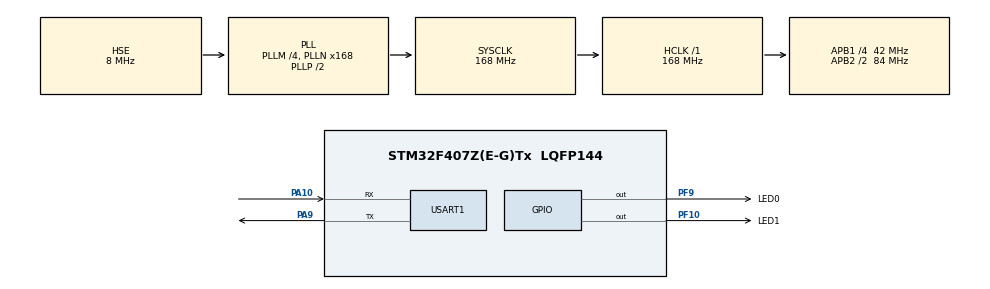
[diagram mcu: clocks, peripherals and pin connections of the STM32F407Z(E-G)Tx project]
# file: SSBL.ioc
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Dma.Request0=USART1_TX
Dma.Request1=USART1_RX
Dma.USART1_RX.1.Direction=DMA_PERIPH_TO_MEMORY
Dma.USART1_RX.1.FIFOMode=DMA_FIFOMODE_DISABLE
Dma.USART1_RX.1.Instance=DMA2_Stream2
Dma.USART1_RX.1.MemDataAlignment=DMA_MDATAALIGN_BYTE
Dma.USART1_RX.1.MemInc=DMA_MINC_ENABLE
Dma.USART1_RX.1.Mode=DMA_NORMAL
Dma.USART1_RX.1.PeriphDataAlignment=DMA_PDATAALIGN_BYTE
Dma.USART1_RX.1.PeriphInc=DMA_PINC_DISABLE
Dma.USART1_RX.1.Priority=DMA_PRIORITY_LOW
Dma.USART1_TX.0.Direction=DMA_MEMORY_TO_PERIPH
Dma.USART1_TX.0.FIFOMode=DMA_FIFOMODE_DISABLE
Dma.USART1_TX.0.Instance=DMA2_Stream7
Dma.USART1_TX.0.MemDataAlignment=DMA_MDATAALIGN_BYTE
Dma.USART1_TX.0.MemInc=DMA_MINC_ENABLE
Dma.USART1_TX.0.Mode=DMA_NORMAL
Dma.USART1_TX.0.PeriphDataAlignment=DMA_PDATAALIGN_BYTE
Dma.USART1_TX.0.PeriphInc=DMA_PINC_DISABLE
Dma.USART1_TX.0.Priority=DMA_PRIORITY_LOW
IWDG.Prescaler=IWDG_PRESCALER_32
Mcu.Family=STM32F4
Mcu.Name=STM32F407Z(E-G)Tx
Mcu.Package=LQFP144
NVIC.DMA2_Stream2_IRQn=true\:0\:0\:false\:false\:true\:false\:true\:true
NVIC.DMA2_Stream7_IRQn=true\:0\:0\:false\:false\:true\:false\:true\:true
NVIC.PriorityGroup=NVIC_PRIORITYGROUP_4
NVIC.TIM1_UP_TIM10_IRQn=true\:15\:0\:false\:false\:true\:false\:true\:true
NVIC.TIM2_IRQn=true\:0\:0\:false\:false\:true\:true\:true\:true
NVIC.TimeBase=TIM1_UP_TIM10_IRQn
NVIC.TimeBaseIP=TIM1
NVIC.USART1_IRQn=true\:0\:0\:false\:false\:true\:true\:true\:true
PA10.Mode=Asynchronous
PA10.Signal=USART1_RX
PA13.Mode=Serial_Wire
PA13.Signal=SYS_JTMS-SWDIO
PA14.Mode=Serial_Wire
PA14.Signal=SYS_JTCK-SWCLK
PA9.Mode=Asynchronous
PA9.Signal=USART1_TX
PF10.GPIO_Label=LED1
PF10.GPIO_PuPd=GPIO_PULLUP
PF10.PinState=GPIO_PIN_SET
PF10.Signal=GPIO_Output
PF9.GPIO_Label=LED0
PF9.GPIO_PuPd=GPIO_PULLUP
PF9.PinState=GPIO_PIN_SET
PF9.Signal=GPIO_Output
PH0-OSC_IN.Mode=HSE-External-Oscillator
PH0-OSC_IN.Signal=RCC_OSC_IN
PH1-OSC_OUT.Mode=HSE-External-Oscillator
PH1-OSC_OUT.Signal=RCC_OSC_OUT
ProjectManager.HeapSize=0x200
ProjectManager.StackSize=0x400
ProjectManager.TargetToolchain=MDK-ARM V5.32
RCC.48MHZClocksFreq_Value=48000000
RCC.AHBFreq_Value=168000000
RCC.APB1CLKDivider=RCC_HCLK_DIV4
RCC.APB1Freq_Value=42000000
RCC.APB1TimFreq_Value=84000000
RCC.APB2CLKDivider=RCC_HCLK_DIV2
RCC.APB2Freq_Value=84000000
RCC.APB2TimFreq_Value=168000000
RCC.CortexFreq_Value=168000000
RCC.HCLKFreq_Value=168000000
RCC.HSE_VALUE=8000000
RCC.HSI_VALUE=16000000
RCC.LSE_VALUE=32768
RCC.PLLM=4
RCC.PLLN=168
RCC.PLLQ=7
RCC.PLLSourceVirtual=RCC_PLLSOURCE_HSE
RCC.PWR_Regulator_Voltage_Scale=PWR_REGULATOR_VOLTAGE_SCALE1
RCC.RCC_RTC_Clock_Source=RCC_RTCCLKSOURCE_LSI
RCC.RCC_RTC_Clock_SourceVirtual=RCC_RTCCLKSOURCE_LSE
RCC.RCC_RTC_Clock_Source_FROM_HSE=RCC_RTCCLKSOURCE_HSE_DIV8
RCC.SYSCLKFreq_VALUE=168000000
RCC.SYSCLKSource=RCC_SYSCLKSOURCE_PLLCLK
RCC.VCOOutputFreq_Value=336000000
TIM2.AutoReloadPreload=TIM_AUTORELOAD_PRELOAD_ENABLE
TIM2.Period=99999
TIM2.Prescaler=83
USART1.VirtualMode=VM_ASYNC
VP_CRC_VS_CRC.Mode=CRC_Activate
VP_IWDG_VS_IWDG.Mode=IWDG_Activate
VP_SYS_VS_tim1.Mode=TIM1
VP_TIM2_VS_ClockSourceINT.Mode=Internal
board=custom

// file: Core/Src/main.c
/* USER CODE BEGIN Header */
/**
  ******************************************************************************
  * @file           : main.c
  * @brief          : Main program body
  ******************************************************************************
  * @attention
  *
  * Copyright (c) 2025 STMicroelectronics.
  * All rights reserved.
  *
  * This software is licensed under terms that can be found in the LICENSE file
  * in the root directory of this software component.
  * If no LICENSE file comes with this software, it is provided AS-IS.
  *
  ******************************************************************************
  */
/* USER CODE END Header */
#include "main.h"
#include "crc.h"
#include "dma.h"
#include "iwdg.h"
#include "tim.h"
#include "usart.h"
#include "gpio.h"

/* USER CODE BEGIN Includes */
#include <stdio.h>
#include <stdbool.h>
#include <string.h>
#include "ssbl.h"
#include "shell.h"

/* USER CODE END Includes */

void SystemClock_Config(void);

int main(void)
{

  /* USER CODE BEGIN 1 */
	SCB->VTOR = Header.start_addr;

  /* USER CODE END 1 */

  /* MCU Configuration--------------------------------------------------------*/

  /* Reset of all peripherals, Initializes the Flash interface and the Systick. */
  HAL_Init();

  /* Configure the system clock */
  SystemClock_Config();

  /* Initialize all configured peripherals */
  MX_GPIO_Init();
  MX_DMA_Init();
  MX_USART1_UART_Init();
  MX_CRC_Init();
  MX_IWDG_Init();
  MX_TIM2_Init();
  /* USER CODE BEGIN 2 */
	HAL_GPIO_WritePin(LED0_GPIO_Port, LED0_Pin, GPIO_PIN_RESET);
	HAL_GPIO_WritePin(LED1_GPIO_Port, LED1_Pin, GPIO_PIN_RESET);

	HAL_TIM_Base_Start_IT(&htim2);

	SSBL_Boot();
	ShellInit();

  /* USER CODE END 2 */

  /* Infinite loop */
  /* USER CODE BEGIN WHILE */
	while (1)
	{
		ShellPoll();

    /* USER CODE END WHILE */

	}
}

void SystemClock_Config(void)
{
  RCC_OscInitTypeDef RCC_OscInitStruct = {0};
  RCC_ClkInitTypeDef RCC_ClkInitStruct = {0};

  /** Configure the main internal regulator output voltage
  */
  __HAL_RCC_PWR_CLK_ENABLE();
  __HAL_PWR_VOLTAGESCALING_CONFIG(PWR_REGULATOR_VOLTAGE_SCALE1);

  /** Initializes the RCC Oscillators according to the specified parameters
  * in the RCC_OscInitTypeDef structure.
  */
  RCC_OscInitStruct.OscillatorType = RCC_OSCILLATORTYPE_LSI|RCC_OSCILLATORTYPE_HSE;
  RCC_OscInitStruct.HSEState = RCC_HSE_ON;
  RCC_OscInitStruct.LSIState = RCC_LSI_ON;
  RCC_OscInitStruct.PLL.PLLState = RCC_PLL_ON;
  RCC_OscInitStruct.PLL.PLLSource = RCC_PLLSOURCE_HSE;
  RCC_OscInitStruct.PLL.PLLM = 4;
  RCC_OscInitStruct.PLL.PLLN = 168;
  RCC_OscInitStruct.PLL.PLLP = RCC_PLLP_DIV2;
  RCC_OscInitStruct.PLL.PLLQ = 7;
  if (HAL_RCC_OscConfig(&RCC_OscInitStruct) != HAL_OK)
  {
    Error_Handler();
  }

  /** Initializes the CPU, AHB and APB buses clocks
  */
  RCC_ClkInitStruct.ClockType = RCC_CLOCKTYPE_HCLK|RCC_CLOCKTYPE_SYSCLK
                              |RCC_CLOCKTYPE_PCLK1|RCC_CLOCKTYPE_PCLK2;
  RCC_ClkInitStruct.SYSCLKSource = RCC_SYSCLKSOURCE_PLLCLK;
  RCC_ClkInitStruct.AHBCLKDivider = RCC_SYSCLK_DIV1;
  RCC_ClkInitStruct.APB1CLKDivider = RCC_HCLK_DIV4;
  RCC_ClkInitStruct.APB2CLKDivider = RCC_HCLK_DIV2;

  if (HAL_RCC_ClockConfig(&RCC_ClkInitStruct, FLASH_LATENCY_5) != HAL_OK)
  {
    Error_Handler();
  }
}

void HAL_TIM_PeriodElapsedCallback(TIM_HandleTypeDef *htim)
{
  if (htim->Instance == TIM1)
  {
    HAL_IncTick();
  }
  /* USER CODE BEGIN Callback 1 */
	if(htim->Instance == TIM2)
	{
		HAL_IWDG_Refresh(&hiwdg);
		HAL_GPIO_TogglePin(LED0_GPIO_Port, LED0_Pin);
	}
  /* USER CODE END Callback 1 */
}

void Error_Handler(void)
{
  __disable_irq();
  while (1)
  {
  }
}
